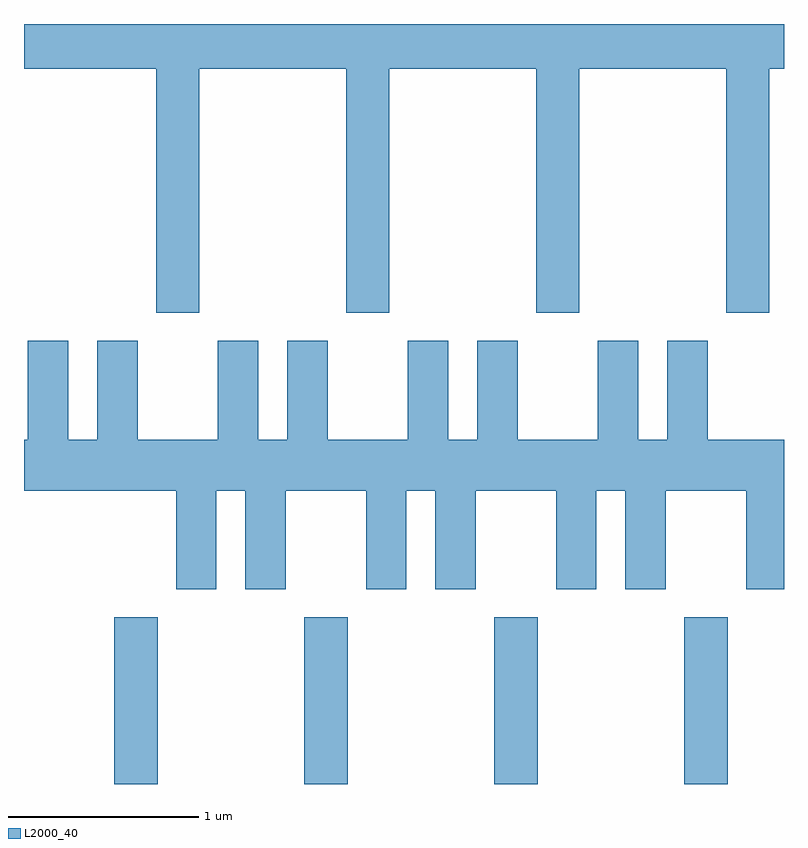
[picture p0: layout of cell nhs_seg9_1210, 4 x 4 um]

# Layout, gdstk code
import gdstk
lib = gdstk.Library(unit=1e-6, precision=1e-09)
def R(c, l, rs):  # rectangles x0, y0, x1, y1
    for r in rs: c.add(gdstk.rectangle(r[:2], r[2:], *l))
def A(c, l, x, y, w, h, nx, ny, dx, dy):  # array of equal rectangles
    R(c, l, [(x+i*dx, y+j*dy, x+i*dx+w, y+j*dy+h) for i in range(nx) for j in range(ny)])
def P(c, l, *ps):  # polygons
    for p in ps: c.add(gdstk.Polygon(p, *l))
L2000_40 = (2000, 40)

nhs_seg9_1210 = lib.new_cell('nhs_seg9_1210')
A(nhs_seg9_1210, L2000_40, 220.086, 2052.432, 0.228, 0.877, 4, 1, 1, 0)
P(nhs_seg9_1210, L2000_40, [(220.534,2056.196),(221.306,2056.196),(221.306,2054.911),(221.534,2054.911),(221.534,2056.196),(222.306,2056.196),(222.306,2054.911),(222.534,2054.911),(222.534,2056.196),(223.306,2056.196),(223.306,2054.911),(223.534,2054.911),(223.534,2056.196),(223.611,2056.196),(223.611,2056.432),(219.611,2056.432),(219.611,2056.196),(220.306,2056.196),(220.306,2054.911),(220.534,2054.911)],
  [(219.996,2054.764),(219.996,2054.244),(219.844,2054.244),(219.844,2054.764),(219.631,2054.764),(219.631,2054.244),(219.611,2054.244),(219.611,2053.976),(220.411,2053.976),(220.411,2053.456),(220.624,2053.456),(220.624,2053.976),(220.776,2053.976),(220.776,2053.456),(220.989,2053.456),(220.989,2053.976),(221.411,2053.976),(221.411,2053.456),(221.624,2053.456),(221.624,2053.976),(221.776,2053.976),(221.776,2053.456),(221.989,2053.456),(221.989,2053.976),(222.411,2053.976),(222.411,2053.456),(222.624,2053.456),(222.624,2053.976),(222.776,2053.976),(222.776,2053.456),(222.989,2053.456),(222.989,2053.976),(223.411,2053.976),(223.411,2053.456),(223.611,2053.456),(223.611,2054.244),(223.209,2054.244),(223.209,2054.764),(222.996,2054.764),(222.996,2054.244),(222.844,2054.244),(222.844,2054.764),(222.631,2054.764),(222.631,2054.244),(222.209,2054.244),(222.209,2054.764),(221.996,2054.764),(221.996,2054.244),(221.844,2054.244),(221.844,2054.764),(221.631,2054.764),(221.631,2054.244),(221.209,2054.244),(221.209,2054.764),(220.996,2054.764),(220.996,2054.244),(220.844,2054.244),(220.844,2054.764),(220.631,2054.764),(220.631,2054.244),(220.209,2054.244),(220.209,2054.764)])

lib.write_gds('nhs_seg9_1210.gds')
